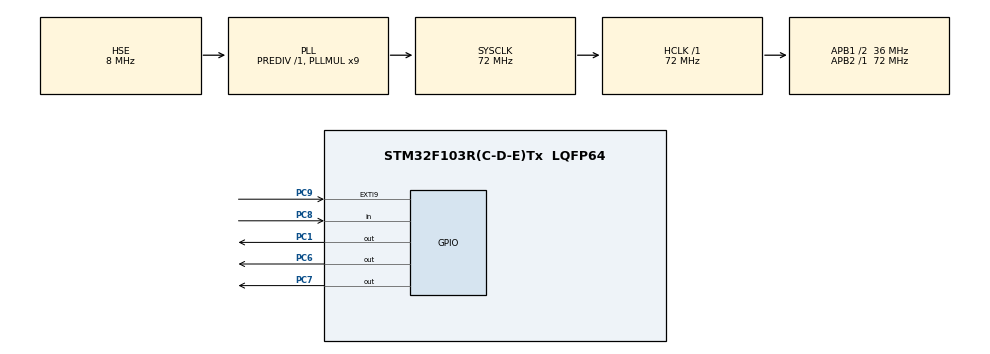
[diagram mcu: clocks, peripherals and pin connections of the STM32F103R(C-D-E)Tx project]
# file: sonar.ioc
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Mcu.Family=STM32F1
Mcu.Name=STM32F103R(C-D-E)Tx
Mcu.Package=LQFP64
NVIC.EXTI9_5_IRQn=true\:0\:0\:false\:false\:true\:true
NVIC.PVD_IRQn=true\:0\:0\:false\:false\:true\:true
NVIC.PriorityGroup=NVIC_PRIORITYGROUP_4
NVIC.RCC_IRQn=true\:0\:0\:false\:false\:true\:true
PA13.Mode=Serial_Wire
PA13.Signal=SYS_JTMS-SWDIO
PA14.Mode=Serial_Wire
PA14.Signal=SYS_JTCK-SWCLK
PC1.GPIO_ModeDefaultOutputPP=GPIO_MODE_OUTPUT_PP
PC1.GPIO_Speed=GPIO_SPEED_FREQ_HIGH
PC1.PinState=GPIO_PIN_RESET
PC1.Signal=GPIO_Output
PC6.GPIO_Speed=GPIO_SPEED_FREQ_HIGH
PC6.Signal=GPIO_Output
PC7.GPIO_Speed=GPIO_SPEED_FREQ_HIGH
PC7.Signal=GPIO_Output
PC8.GPIO_PuPd=GPIO_PULLUP
PC8.Signal=GPIO_Input
PC9.GPIO_ModeDefaultEXTI=GPIO_MODE_IT_RISING_FALLING
PC9.GPIO_PuPd=GPIO_PULLUP
PC9.Signal=GPXTI9
PD0-OSC_IN.Mode=HSE-External-Oscillator
PD0-OSC_IN.Signal=RCC_OSC_IN
PD1-OSC_OUT.Mode=HSE-External-Oscillator
PD1-OSC_OUT.Signal=RCC_OSC_OUT
ProjectManager.HeapSize=0x200
ProjectManager.StackSize=0x400
ProjectManager.TargetToolchain=MDK-ARM V5
RCC.AHBFreq_Value=72000000
RCC.APB1CLKDivider=RCC_HCLK_DIV2
RCC.APB1Freq_Value=36000000
RCC.APB1TimFreq_Value=72000000
RCC.APB2Freq_Value=72000000
RCC.APB2TimFreq_Value=72000000
RCC.HCLKFreq_Value=72000000
RCC.PLLMUL=RCC_PLL_MUL9
RCC.PLLSourceVirtual=RCC_PLLSOURCE_HSE
RCC.SYSCLKFreq_VALUE=72000000
RCC.SYSCLKSource=RCC_SYSCLKSOURCE_PLLCLK
RCC.USBFreq_Value=72000000
TIM1.Period=0xffff-1
TIM1.Prescaler=71
VP_TIM1_VS_ClockSourceINT.Mode=Internal
board=sonar

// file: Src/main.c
#include "main.h"
#include "stm32f1xx_hal.h"

TIM_HandleTypeDef htim1;

/* USER CODE BEGIN PV */
/* Private variables ---------------------------------------------------------*/

/* USER CODE END PV */

void SystemClock_Config(void);
static void MX_GPIO_Init(void);
static void MX_TIM1_Init(void);

/* USER CODE BEGIN PFP */
/* Private function prototypes -----------------------------------------------*/
void delay (uint32_t us)
{
	__HAL_TIM_SET_COUNTER(&htim1, 0);
	while ((__HAL_TIM_GET_COUNTER(&htim1))<us);
}
volatile uint32_t local_time, sensor_time;
volatile uint32_t distance;

uint32_t hcsr04_read (void)
{
	local_time=0;
	HAL_GPIO_WritePin(GPIOC, GPIO_PIN_7 | GPIO_PIN_1, GPIO_PIN_RESET);  // pull the TRIG pin HIGH
	delay(2);  // wait for 2 us

	HAL_GPIO_WritePin(GPIOC, GPIO_PIN_7 | GPIO_PIN_1, GPIO_PIN_SET);  // pull the TRIG pin HIGH
	delay(10);  // wait for 10 us
	HAL_GPIO_WritePin(GPIOC, GPIO_PIN_7 | GPIO_PIN_1, GPIO_PIN_RESET);  // pull the TRIG pin low

	// read the time for which the pin is high

	while (!(HAL_GPIO_ReadPin(GPIOC, GPIO_PIN_8)));  // wait for the ECHO pin to go high
	while (HAL_GPIO_ReadPin(GPIOC, GPIO_PIN_8))    // while the pin is high
	 {
		local_time++;   // measure time for which the pin is high
		delay (1);
	 }
	return local_time;
}

/* USER CODE END PFP */

int main(void)
{

  /* MCU Configuration----------------------------------------------------------*/

  /* Reset of all peripherals, Initializes the Flash interface and the Systick. */
  HAL_Init();

  /* Configure the system clock */
  SystemClock_Config();

  /* Initialize all configured peripherals */
  MX_GPIO_Init();
  MX_TIM1_Init();
  HAL_TIM_Base_Start(&htim1);

  /* Infinite loop */
  while (1)
  {
	  sensor_time = hcsr04_read();
	  distance  = sensor_time * 0.034/2;
		HAL_Delay(100);

  }

}

/** System Clock Configuration
*/
void SystemClock_Config(void)
{

  RCC_OscInitTypeDef RCC_OscInitStruct;
  RCC_ClkInitTypeDef RCC_ClkInitStruct;

    /**Initializes the CPU, AHB and APB busses clocks
    */
  RCC_OscInitStruct.OscillatorType = RCC_OSCILLATORTYPE_HSE;
  RCC_OscInitStruct.HSEState = RCC_HSE_ON;
  RCC_OscInitStruct.HSEPredivValue = RCC_HSE_PREDIV_DIV1;
  RCC_OscInitStruct.HSIState = RCC_HSI_ON;
  RCC_OscInitStruct.PLL.PLLState = RCC_PLL_ON;
  RCC_OscInitStruct.PLL.PLLSource = RCC_PLLSOURCE_HSE;
  RCC_OscInitStruct.PLL.PLLMUL = RCC_PLL_MUL9;
  if (HAL_RCC_OscConfig(&RCC_OscInitStruct) != HAL_OK)
  {
    _Error_Handler(__FILE__, __LINE__);
  }

    /**Initializes the CPU, AHB and APB busses clocks
    */
  RCC_ClkInitStruct.ClockType = RCC_CLOCKTYPE_HCLK|RCC_CLOCKTYPE_SYSCLK
                              |RCC_CLOCKTYPE_PCLK1|RCC_CLOCKTYPE_PCLK2;
  RCC_ClkInitStruct.SYSCLKSource = RCC_SYSCLKSOURCE_PLLCLK;
  RCC_ClkInitStruct.AHBCLKDivider = RCC_SYSCLK_DIV1;
  RCC_ClkInitStruct.APB1CLKDivider = RCC_HCLK_DIV2;
  RCC_ClkInitStruct.APB2CLKDivider = RCC_HCLK_DIV1;

  if (HAL_RCC_ClockConfig(&RCC_ClkInitStruct, FLASH_LATENCY_2) != HAL_OK)
  {
    _Error_Handler(__FILE__, __LINE__);
  }

    /**Configure the Systick interrupt time
    */
  HAL_SYSTICK_Config(HAL_RCC_GetHCLKFreq()/1000);

    /**Configure the Systick
    */
  HAL_SYSTICK_CLKSourceConfig(SYSTICK_CLKSOURCE_HCLK);

  /* SysTick_IRQn interrupt configuration */
  HAL_NVIC_SetPriority(SysTick_IRQn, 0, 0);
}

/* TIM1 init function */
static void MX_TIM1_Init(void)
{

  TIM_ClockConfigTypeDef sClockSourceConfig;
  TIM_MasterConfigTypeDef sMasterConfig;

  htim1.Instance = TIM1;
  htim1.Init.Prescaler = 0;
  htim1.Init.CounterMode = TIM_COUNTERMODE_UP;
  htim1.Init.Period = 72-1;
  htim1.Init.ClockDivision = TIM_CLOCKDIVISION_DIV1;
  htim1.Init.RepetitionCounter = 0;
  htim1.Init.AutoReloadPreload = TIM_AUTORELOAD_PRELOAD_DISABLE;
  if (HAL_TIM_Base_Init(&htim1) != HAL_OK)
  {
    _Error_Handler(__FILE__, __LINE__);
  }

  sClockSourceConfig.ClockSource = TIM_CLOCKSOURCE_INTERNAL;
  if (HAL_TIM_ConfigClockSource(&htim1, &sClockSourceConfig) != HAL_OK)
  {
    _Error_Handler(__FILE__, __LINE__);
  }

  sMasterConfig.MasterOutputTrigger = TIM_TRGO_RESET;
  sMasterConfig.MasterSlaveMode = TIM_MASTERSLAVEMODE_DISABLE;
  if (HAL_TIMEx_MasterConfigSynchronization(&htim1, &sMasterConfig) != HAL_OK)
  {
    _Error_Handler(__FILE__, __LINE__);
  }

}

/** Configure pins as
        * Analog
        * Input
        * Output
        * EVENT_OUT
        * EXTI
*/
static void MX_GPIO_Init(void)
{

  GPIO_InitTypeDef GPIO_InitStruct;

  /* GPIO Ports Clock Enable */
  __HAL_RCC_GPIOD_CLK_ENABLE();
  __HAL_RCC_GPIOC_CLK_ENABLE();
  __HAL_RCC_GPIOA_CLK_ENABLE();

  /*Configure GPIO pin Output Level */
  HAL_GPIO_WritePin(GPIOC, GPIO_PIN_1|GPIO_PIN_6|GPIO_PIN_7, GPIO_PIN_RESET);

  /*Configure GPIO pins : PC1 PC6 PC7 */
  GPIO_InitStruct.Pin = GPIO_PIN_1|GPIO_PIN_6|GPIO_PIN_7;
  GPIO_InitStruct.Mode = GPIO_MODE_OUTPUT_PP;
  GPIO_InitStruct.Speed = GPIO_SPEED_FREQ_HIGH;
  HAL_GPIO_Init(GPIOC, &GPIO_InitStruct);

  /*Configure GPIO pin : PC8 */
  GPIO_InitStruct.Pin = GPIO_PIN_8;
  GPIO_InitStruct.Mode = GPIO_MODE_INPUT;
  GPIO_InitStruct.Pull = GPIO_PULLUP;
  HAL_GPIO_Init(GPIOC, &GPIO_InitStruct);

  /*Configure GPIO pin : PC9 */
  GPIO_InitStruct.Pin = GPIO_PIN_9;
  GPIO_InitStruct.Mode = GPIO_MODE_IT_RISING_FALLING;
  GPIO_InitStruct.Pull = GPIO_PULLUP;
  HAL_GPIO_Init(GPIOC, &GPIO_InitStruct);

  /* EXTI interrupt init*/
  HAL_NVIC_SetPriority(EXTI9_5_IRQn, 0, 0);
  HAL_NVIC_EnableIRQ(EXTI9_5_IRQn);

}

void _Error_Handler(char * file, int line)
{
  while(1)
  {
  }
}

/************************ (C) COPYRIGHT STMicroelectronics *****END OF FILE****/
